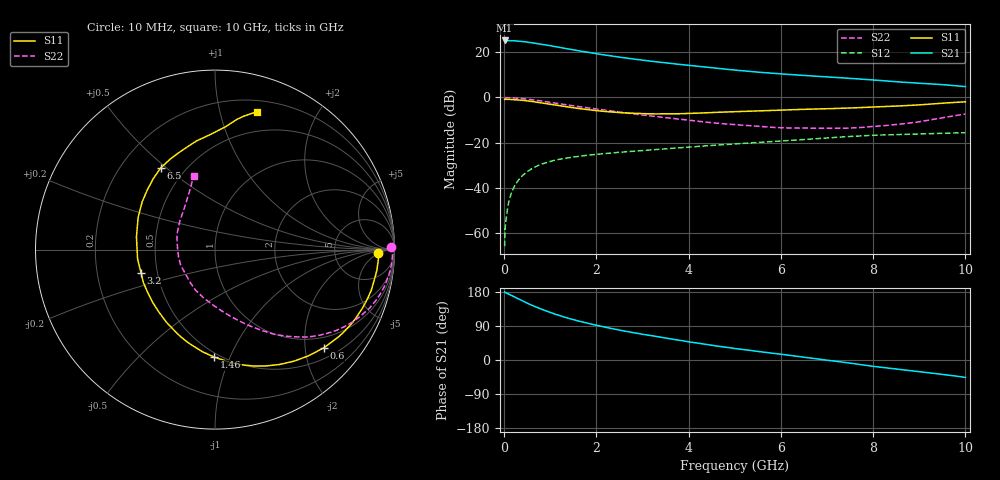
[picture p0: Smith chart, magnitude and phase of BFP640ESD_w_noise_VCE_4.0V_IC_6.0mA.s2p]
! (c) 2016  Infineon Technologies AG, Munich
! Infineon Technologies  Discrete & RF Semiconductors
! BFP640ESD
! VCE =  4.0 V,  IC =  6.0 mA
! Common Emitter S-Parameters:  Jan 2016
# GHz  S  MA  R  50
!  f  S11  S21  S12  S22
! GHz  MAG  ANG  MAG  ANG  MAG  ANG  MAG  ANG
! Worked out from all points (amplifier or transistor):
!   233 points, 10 MHz to 10 GHz, reference 50 ohm
!   highest |S21| = 25.3 dB at 10 MHz (marker M1)
!   |S21| within 3 dB of that: start of sweep to 1.183 GHz
!   unconditionally stable (mu >= 1): 4.573 GHz to 8.933 GHz
!   at 200 MHz: K = 0.13, MSG = 32.8 dB, |S12| = -40.4 dB
!   at 1.74 GHz: K = 0.53, MSG = 23.1 dB, |S12| = -25.8 dB
!   at 10 GHz: K = 0.83, MSG = 10.2 dB, |S12| = -15.6 dB
!   lowest NFmin = 0.60 dB at 450 MHz
!   S11 on the Smith chart (normalised r, x): 10 MHz: 20, -4; 600 MHz: 0.73, -2.41; 1.46 GHz: 0.47, -0.88; 3.2 GHz: 0.40, -0.13; 6.5 GHz: 0.37, +0.48; 10 GHz: 0.30, +1.30
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0.01  0.909 -1.1  18.45 179.6  0.0005 53.1  0.9783 1.0
0.025  0.9112 -1.9  18.28 178.4  0.0014 59.2  0.9902 -0.9
0.09  0.9093 -6.6  18.26 174.4  0.0043 76.9  0.9878 -3.9
0.2  0.8998 -14.5  18.14 167.8  0.0096 77.5  0.9785 -8.6
0.3  0.8841 -21.6  17.87 161.6  0.0142 75.0  0.9636 -12.8
0.46  0.8512 -32.8  17.19 152.3  0.0209 69.9  0.9302 -19.2
0.6  0.8166 -42.1  16.45 144.4  0.0262 65.5  0.8931 -24.3
0.8  0.7625 -54.5  15.27 134.5  0.0328 59.8  0.8371 -31.0
1  0.7075 -66.4  14.1 125.4  0.0382 54.9  0.7794 -36.8
1.24  0.647 -79.4  12.75 115.7  0.0434 50.3  0.7145 -42.8
1.46  0.5982 -90.4  11.6 107.9  0.0472 46.9  0.6603 -47.4
1.68  0.5578 -100.8  10.62 100.7  0.0504 44.2  0.6134 -51.5
2  0.5112 -114.6  9.365 91.7  0.0547 41.4  0.5554 -56.7
2.4  0.4688 -131.6  8.14 81.4  0.0595 38.8  0.4896 -63.0
3.2  0.4322 -162.3  6.363 64.2  0.0688 35.0  0.387 -75.9
3.4  0.432 -169.5  6.023 60.0  0.0712 34.3  0.3666 -79.4
4  0.4434 170.8  5.174 48.0  0.0794 31.9  0.3122 -91.2
5.1  0.4877 145.2  3.974 28.9  0.0942 26.2  0.2454 -117.9
6.5  0.5466 123.6  3.087 7.4  0.1166 18.6  0.2101 -155.5
6.8  0.5557 118.9  2.947 2.8  0.1224 16.4  0.2071 -163.1
8.4  0.6376 93.2  2.276 -22.4  0.1492 1.2  0.2449 145.1
10  0.8018 73.2  1.742 -45.9  0.1654 -13.1  0.4293 106.0
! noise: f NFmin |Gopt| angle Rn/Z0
0.45  0.6  0.35  10  0.12
0.9  0.62  0.33  22  0.12
1.9  0.67  0.26  44  0.12
2.4  0.71  0.22  60  0.11
5.5  1.06  0.33  -140  0.13
10  2  0.62  -82  0.81
